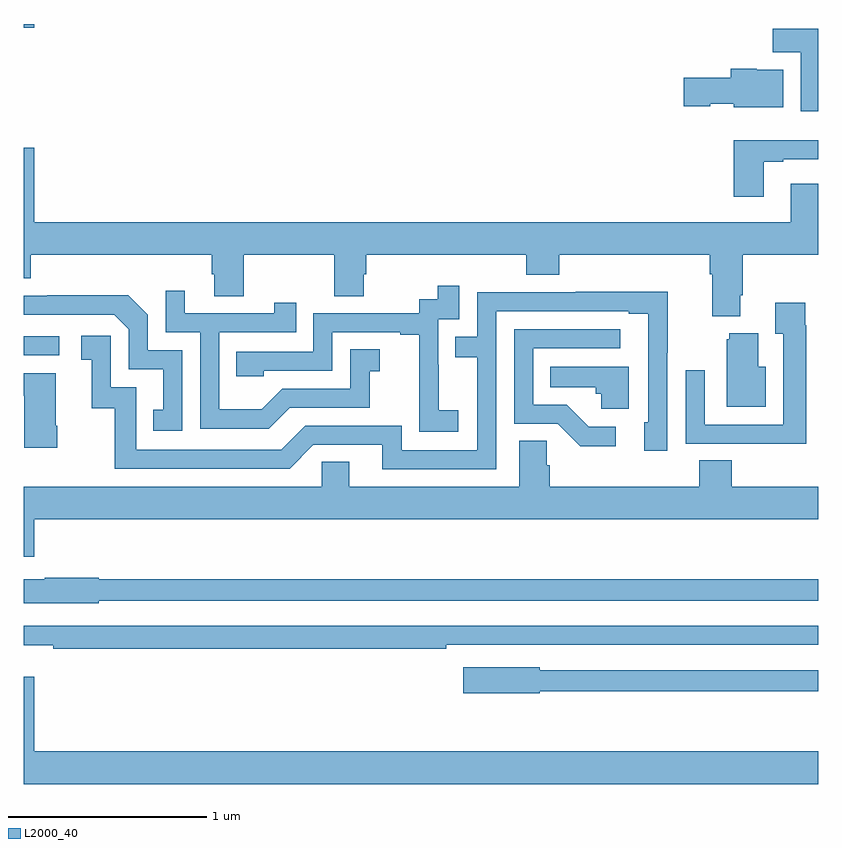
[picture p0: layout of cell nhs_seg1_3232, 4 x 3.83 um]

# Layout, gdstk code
import gdstk
lib = gdstk.Library(unit=1e-6, precision=1e-09)
def R(c, l, rs):  # rectangles x0, y0, x1, y1
    for r in rs: c.add(gdstk.rectangle(r[:2], r[2:], *l))
def P(c, l, *ps):  # polygons
    for p in ps: c.add(gdstk.Polygon(p, *l))
L2000_40 = (2000, 40)

nhs_seg1_3232 = lib.new_cell('nhs_seg1_3232')
R(nhs_seg1_3232, L2000_40, [(285,580.53,285.178,580.626), (285,582.18,285.052,582.199)])
P(nhs_seg1_3232, L2000_40, [(289,582.174),(288.772,582.174),(288.772,582.056),(288.911,582.056),(288.911,581.76),(289,581.76)],
  [(288.823,581.968),(288.69,581.968),(288.69,581.974),(288.56,581.974),(288.56,581.928),(288.324,581.928),(288.324,581.786),(288.456,581.786),(288.456,581.798),(288.576,581.798),(288.576,581.78),(288.823,581.78)],
  [(288.727,581.505),(288.823,581.505),(288.823,581.517),(289,581.517),(289,581.614),(288.575,581.614),(288.575,581.328),(288.727,581.328)],
  [(288.607,580.834),(288.62,580.834),(288.62,581.036),(289,581.036),(289,581.395),(288.863,581.395),(288.863,581.2),(285.052,581.2),(285.052,581.575),(285,581.575),(285,580.919),(285.035,580.919),(285.035,581.036),(285.947,581.036),(285.947,580.938),(285.959,580.938),(285.959,580.828),(286.107,580.828),(286.107,581.036),(286.564,581.036),(286.564,580.828),(286.711,580.828),(286.711,580.938),(286.724,580.938),(286.724,581.036),(287.531,581.036),(287.531,580.937),(287.696,580.937),(287.696,581.036),(288.455,581.036),(288.455,580.94),(288.467,580.94),(288.467,580.727),(288.607,580.727)],
  [(287.188,580.255),(287.09,580.255),(287.09,580.484),(287.088,580.484),(287.088,580.713),(287.193,580.713),(287.193,580.882),(287.085,580.882),(287.085,580.812),(286.992,580.812),(286.992,580.743),(286.458,580.743),(286.458,580.548),(286.069,580.548),(286.069,580.425),(286.209,580.425),(286.209,580.452),(286.554,580.452),(286.554,580.647),(286.895,580.647),(286.895,580.635),(286.991,580.635),(286.991,580.351),(286.99,580.351),(286.99,580.145),(287.188,580.145)],
  [(286.339,580.266),(286.743,580.266),(286.743,580.451),(286.792,580.451),(286.792,580.561),(286.644,580.561),(286.644,580.362),(286.302,580.362),(286.198,580.258),(285.984,580.258),(285.984,580.647),(286.373,580.647),(286.373,580.795),(286.262,580.795),(286.262,580.743),(285.811,580.743),(285.811,580.855),(285.714,580.855),(285.714,580.647),(285.888,580.647),(285.888,580.161),(286.234,580.161)],
  [(287.379,580.752),(288.047,580.752),(288.047,580.74),(288.144,580.74),(288.144,580.194),(288.125,580.194),(288.125,580.05),(288.24,580.05),(288.24,580.543),(288.243,580.543),(288.243,580.85),(287.779,580.85),(287.779,580.848),(287.283,580.848),(287.283,580.623),(287.173,580.623),(287.173,580.522),(287.283,580.522),(287.283,580.053),(286.902,580.053),(286.902,580.176),(286.416,580.176),(286.296,580.056),(285.567,580.056),(285.567,580.371),(285.438,580.371),(285.438,580.63),(285.288,580.63),(285.288,580.509),(285.341,580.509),(285.341,580.263),(285.459,580.263),(285.459,579.96),(286.338,579.96),(286.458,580.08),(286.805,580.08),(286.805,579.957),(287.379,579.957)],
  [(285.798,580.557),(285.624,580.557),(285.624,580.734),(285.526,580.832),(285.118,580.832),(285.118,580.83),(285,580.83),(285,580.734),(285.456,580.734),(285.528,580.662),(285.528,580.461),(285.701,580.461),(285.701,580.257),(285.652,580.257),(285.652,580.152),(285.798,580.152)],
  [(288.941,580.682),(288.934,580.682),(288.934,580.795),(288.785,580.795),(288.785,580.639),(288.825,580.639),(288.825,580.182),(288.429,580.182),(288.429,580.456),(288.333,580.456),(288.333,580.086),(288.649,580.086),(288.649,580.085),(288.941,580.085)],
  [(287.98,580.17),(287.845,580.17),(287.734,580.281),(287.565,580.281),(287.565,580.566),(288.004,580.566),(288.004,580.662),(287.469,580.662),(287.469,580.185),(287.688,580.185),(287.801,580.073),(287.98,580.073)],
  [(288.736,580.474),(288.697,580.474),(288.697,580.642),(288.551,580.642),(288.551,580.611),(288.539,580.611),(288.539,580.271),(288.736,580.271)],
  [(288.046,580.474),(287.65,580.474),(287.65,580.37),(287.881,580.37),(287.881,580.338),(287.907,580.338),(287.907,580.262),(288.046,580.262)],
  [(285.168,580.177),(285.16,580.177),(285.16,580.441),(285,580.441),(285,580.327),(285.002,580.327),(285.002,580.065),(285.168,580.065)],
  [(285.052,579.704),(289,579.704),(289,579.868),(288.566,579.868),(288.566,580.001),(288.401,580.001),(288.401,579.868),(287.648,579.868),(287.648,579.977),(287.634,579.977),(287.634,580.1),(287.495,580.1),(287.495,579.868),(286.639,579.868),(286.639,579.995),(286.5,579.995),(286.5,579.868),(285,579.868),(285,579.516),(285.052,579.516)],
  [(285.378,579.294),(289,579.294),(289,579.403),(285.378,579.403),(285.378,579.411),(285.106,579.411),(285.106,579.403),(285,579.403),(285,579.281),(285.378,579.281)],
  [(287.126,579.072),(289,579.072),(289,579.168),(285,579.168),(285,579.071),(285.148,579.071),(285.148,579.052),(287.126,579.052)],
  [(287.598,578.838),(289,578.838),(289,578.946),(287.598,578.946),(287.598,578.959),(287.214,578.959),(287.214,578.83),(287.598,578.83)],
  [(289,578.536),(285.052,578.536),(285.052,578.911),(285,578.911),(285,578.372),(289,578.372)])

lib.write_gds('nhs_seg1_3232.gds')
